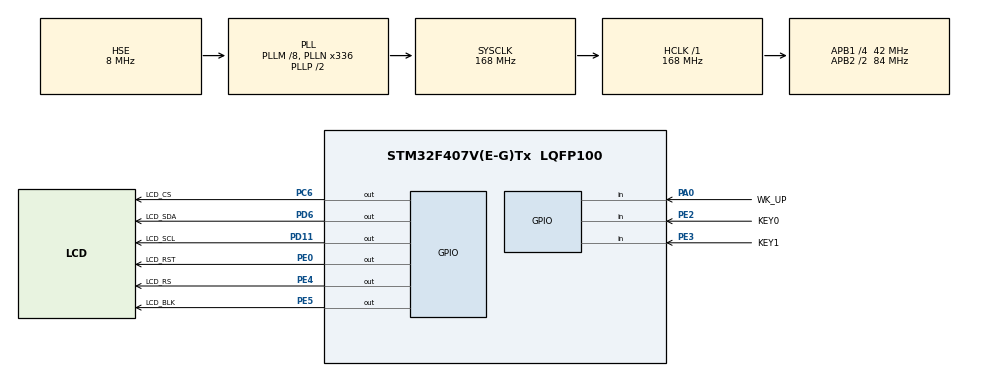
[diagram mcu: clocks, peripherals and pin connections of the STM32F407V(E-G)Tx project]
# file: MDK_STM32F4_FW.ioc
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Mcu.Family=STM32F4
Mcu.Name=STM32F407V(E-G)Tx
Mcu.Package=LQFP100
NVIC.PriorityGroup=NVIC_PRIORITYGROUP_4
PA0-WKUP.GPIO_Label=WK_UP
PA0-WKUP.GPIO_PuPd=GPIO_PULLDOWN
PA0-WKUP.Signal=GPIO_Input
PA13.Mode=Serial_Wire
PA13.Signal=SYS_JTMS-SWDIO
PA14.Mode=Serial_Wire
PA14.Signal=SYS_JTCK-SWCLK
PC14-OSC32_IN.Mode=LSE-External-Oscillator
PC14-OSC32_IN.Signal=RCC_OSC32_IN
PC15-OSC32_OUT.Mode=LSE-External-Oscillator
PC15-OSC32_OUT.Signal=RCC_OSC32_OUT
PC6.GPIO_Label=LCD_CS
PC6.GPIO_PuPd=GPIO_PULLUP
PC6.GPIO_Speed=GPIO_SPEED_FREQ_VERY_HIGH
PC6.PinState=GPIO_PIN_SET
PC6.Signal=GPIO_Output
PD11.GPIO_Label=LCD_SCL
PD11.GPIO_PuPd=GPIO_PULLUP
PD11.GPIO_Speed=GPIO_SPEED_FREQ_VERY_HIGH
PD11.PinState=GPIO_PIN_SET
PD11.Signal=GPIO_Output
PD6.GPIO_Label=LCD_SDA
PD6.GPIO_PuPd=GPIO_PULLUP
PD6.GPIO_Speed=GPIO_SPEED_FREQ_VERY_HIGH
PD6.PinState=GPIO_PIN_SET
PD6.Signal=GPIO_Output
PE0.GPIO_Label=LCD_RST
PE0.GPIO_PuPd=GPIO_PULLUP
PE0.GPIO_Speed=GPIO_SPEED_FREQ_VERY_HIGH
PE0.PinState=GPIO_PIN_SET
PE0.Signal=GPIO_Output
PE2.GPIO_Label=KEY0
PE2.GPIO_PuPd=GPIO_PULLUP
PE2.Signal=GPIO_Input
PE3.GPIO_Label=KEY1
PE3.GPIO_PuPd=GPIO_PULLUP
PE3.Signal=GPIO_Input
PE4.GPIO_Label=LCD_RS
PE4.GPIO_PuPd=GPIO_PULLUP
PE4.GPIO_Speed=GPIO_SPEED_FREQ_VERY_HIGH
PE4.PinState=GPIO_PIN_SET
PE4.Signal=GPIO_Output
PE5.GPIO_Label=LCD_BLK
PE5.GPIO_PuPd=GPIO_PULLUP
PE5.GPIO_Speed=GPIO_SPEED_FREQ_VERY_HIGH
PE5.PinState=GPIO_PIN_SET
PE5.Signal=GPIO_Output
PH0-OSC_IN.Mode=HSE-External-Oscillator
PH0-OSC_IN.Signal=RCC_OSC_IN
PH1-OSC_OUT.Mode=HSE-External-Oscillator
PH1-OSC_OUT.Signal=RCC_OSC_OUT
ProjectManager.HeapSize=0x200
ProjectManager.StackSize=0x400
ProjectManager.TargetToolchain=MDK-ARM V5.32
RCC.48MHZClocksFreq_Value=84000000
RCC.AHBFreq_Value=168000000
RCC.APB1CLKDivider=RCC_HCLK_DIV4
RCC.APB1Freq_Value=42000000
RCC.APB1TimFreq_Value=84000000
RCC.APB2CLKDivider=RCC_HCLK_DIV2
RCC.APB2Freq_Value=84000000
RCC.APB2TimFreq_Value=168000000
RCC.CortexFreq_Value=168000000
RCC.HCLKFreq_Value=168000000
RCC.HSE_VALUE=8000000
RCC.HSI_VALUE=16000000
RCC.PLLM=8
RCC.PLLN=336
RCC.PLLSourceVirtual=RCC_PLLSOURCE_HSE
RCC.SYSCLKFreq_VALUE=168000000
RCC.SYSCLKSource=RCC_SYSCLKSOURCE_PLLCLK
RCC.VCOOutputFreq_Value=336000000
board=custom

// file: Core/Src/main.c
/* USER CODE BEGIN Header */
/**
  ******************************************************************************
  * @file           : main.c
  * @brief          : Main program body
  ******************************************************************************
  * @attention
  *
  * Copyright (c) 2022 STMicroelectronics.
  * All rights reserved.
  *
  * This software is licensed under terms that can be found in the LICENSE file
  * in the root directory of this software component.
  * If no LICENSE file comes with this software, it is provided AS-IS.
  *
  ******************************************************************************
  */
/* USER CODE END Header */
#include "main.h"
#include "key.h"
/* USER CODE BEGIN Includes */
#include "delay.h"
#include "GUI.h"
#include "Lcd_Driver.h"
/* USER CODE END Includes */

void SystemClock_Config(void);
static void MX_GPIO_Init(void);

int main(void)
{

  /* MCU Configuration--------------------------------------------------------*/

  /* Reset of all peripherals, Initializes the Flash interface and the Systick. */
  HAL_Init();

  /* Configure the system clock */
  SystemClock_Config();

  /* Initialize all configured peripherals */
  MX_GPIO_Init();
  /* USER CODE BEGIN 2 */
	delay_init(168);      //初始化延时函�?
	Lcd_Init();	 //1.8屏幕初始�?
	LCD_BLK_SET;
	delay_ms(200);
	LCD_BLK_CLR;
	delay_ms(200);
	LCD_BLK_SET;
	Lcd_Clear(BLACK);
		char key;
		char p=0;
  /* USER CODE END 2 */

  /* Infinite loop */
  while (1)
  {

    /* USER CODE BEGIN 3 */
		key=KEY_Scan(0); //????
		if(key)
		{
			switch(key)
			{
				case WKUP_PRES:
					Lcd_Clear(BLACK);
				p=0;
					break;
				case KEY0_PRES:
					Lcd_Clear(BLACK);
				p=1;
					break;
				case KEY1_PRES:
					Lcd_Clear(BLACK);
				p=2;
					break;
				default:break;
			}
		}
	if(p==0){
		Gui_DrawFont_GBK16(32,16,BLACK,GRAY0,"������");
	}
	if(p==1){
		show_pic1();
	}
	if(p==2){
		show_pic2();
	}
  }
  /* USER CODE END 3 */
}

void SystemClock_Config(void)
{
  RCC_OscInitTypeDef RCC_OscInitStruct = {0};
  RCC_ClkInitTypeDef RCC_ClkInitStruct = {0};

  /** Configure the main internal regulator output voltage
  */
  __HAL_RCC_PWR_CLK_ENABLE();
  __HAL_PWR_VOLTAGESCALING_CONFIG(PWR_REGULATOR_VOLTAGE_SCALE1);
  /** Initializes the RCC Oscillators according to the specified parameters
  * in the RCC_OscInitTypeDef structure.
  */
  RCC_OscInitStruct.OscillatorType = RCC_OSCILLATORTYPE_HSE;
  RCC_OscInitStruct.HSEState = RCC_HSE_ON;
  RCC_OscInitStruct.PLL.PLLState = RCC_PLL_ON;
  RCC_OscInitStruct.PLL.PLLSource = RCC_PLLSOURCE_HSE;
  RCC_OscInitStruct.PLL.PLLM = 8;
  RCC_OscInitStruct.PLL.PLLN = 336;
  RCC_OscInitStruct.PLL.PLLP = RCC_PLLP_DIV2;
  RCC_OscInitStruct.PLL.PLLQ = 4;
  if (HAL_RCC_OscConfig(&RCC_OscInitStruct) != HAL_OK)
  {
    Error_Handler();
  }
  /** Initializes the CPU, AHB and APB buses clocks
  */
  RCC_ClkInitStruct.ClockType = RCC_CLOCKTYPE_HCLK|RCC_CLOCKTYPE_SYSCLK
                              |RCC_CLOCKTYPE_PCLK1|RCC_CLOCKTYPE_PCLK2;
  RCC_ClkInitStruct.SYSCLKSource = RCC_SYSCLKSOURCE_PLLCLK;
  RCC_ClkInitStruct.AHBCLKDivider = RCC_SYSCLK_DIV1;
  RCC_ClkInitStruct.APB1CLKDivider = RCC_HCLK_DIV4;
  RCC_ClkInitStruct.APB2CLKDivider = RCC_HCLK_DIV2;

  if (HAL_RCC_ClockConfig(&RCC_ClkInitStruct, FLASH_LATENCY_5) != HAL_OK)
  {
    Error_Handler();
  }
}

static void MX_GPIO_Init(void)
{
  GPIO_InitTypeDef GPIO_InitStruct = {0};

  /* GPIO Ports Clock Enable */
  __HAL_RCC_GPIOE_CLK_ENABLE();
  __HAL_RCC_GPIOC_CLK_ENABLE();
  __HAL_RCC_GPIOH_CLK_ENABLE();
  __HAL_RCC_GPIOA_CLK_ENABLE();
  __HAL_RCC_GPIOD_CLK_ENABLE();

  /*Configure GPIO pin Output Level */
  HAL_GPIO_WritePin(GPIOE, LCD_RS_Pin|LCD_BLK_Pin|LCD_RST_Pin, GPIO_PIN_SET);

  /*Configure GPIO pin Output Level */
  HAL_GPIO_WritePin(GPIOD, LCD_SCL_Pin|LCD_SDA_Pin, GPIO_PIN_SET);

  /*Configure GPIO pin Output Level */
  HAL_GPIO_WritePin(LCD_CS_GPIO_Port, LCD_CS_Pin, GPIO_PIN_SET);

  /*Configure GPIO pins : KEY0_Pin KEY1_Pin */
  GPIO_InitStruct.Pin = KEY0_Pin|KEY1_Pin;
  GPIO_InitStruct.Mode = GPIO_MODE_INPUT;
  GPIO_InitStruct.Pull = GPIO_PULLUP;
  HAL_GPIO_Init(GPIOE, &GPIO_InitStruct);

  /*Configure GPIO pins : LCD_RS_Pin LCD_BLK_Pin LCD_RST_Pin */
  GPIO_InitStruct.Pin = LCD_RS_Pin|LCD_BLK_Pin|LCD_RST_Pin;
  GPIO_InitStruct.Mode = GPIO_MODE_OUTPUT_PP;
  GPIO_InitStruct.Pull = GPIO_PULLUP;
  GPIO_InitStruct.Speed = GPIO_SPEED_FREQ_VERY_HIGH;
  HAL_GPIO_Init(GPIOE, &GPIO_InitStruct);

  /*Configure GPIO pin : WK_UP_Pin */
  GPIO_InitStruct.Pin = WK_UP_Pin;
  GPIO_InitStruct.Mode = GPIO_MODE_INPUT;
  GPIO_InitStruct.Pull = GPIO_PULLDOWN;
  HAL_GPIO_Init(WK_UP_GPIO_Port, &GPIO_InitStruct);

  /*Configure GPIO pins : LCD_SCL_Pin LCD_SDA_Pin */
  GPIO_InitStruct.Pin = LCD_SCL_Pin|LCD_SDA_Pin;
  GPIO_InitStruct.Mode = GPIO_MODE_OUTPUT_PP;
  GPIO_InitStruct.Pull = GPIO_PULLUP;
  GPIO_InitStruct.Speed = GPIO_SPEED_FREQ_VERY_HIGH;
  HAL_GPIO_Init(GPIOD, &GPIO_InitStruct);

  /*Configure GPIO pin : LCD_CS_Pin */
  GPIO_InitStruct.Pin = LCD_CS_Pin;
  GPIO_InitStruct.Mode = GPIO_MODE_OUTPUT_PP;
  GPIO_InitStruct.Pull = GPIO_PULLUP;
  GPIO_InitStruct.Speed = GPIO_SPEED_FREQ_VERY_HIGH;
  HAL_GPIO_Init(LCD_CS_GPIO_Port, &GPIO_InitStruct);

}

void Error_Handler(void)
{
  __disable_irq();
  while (1)
  {
  }
}
